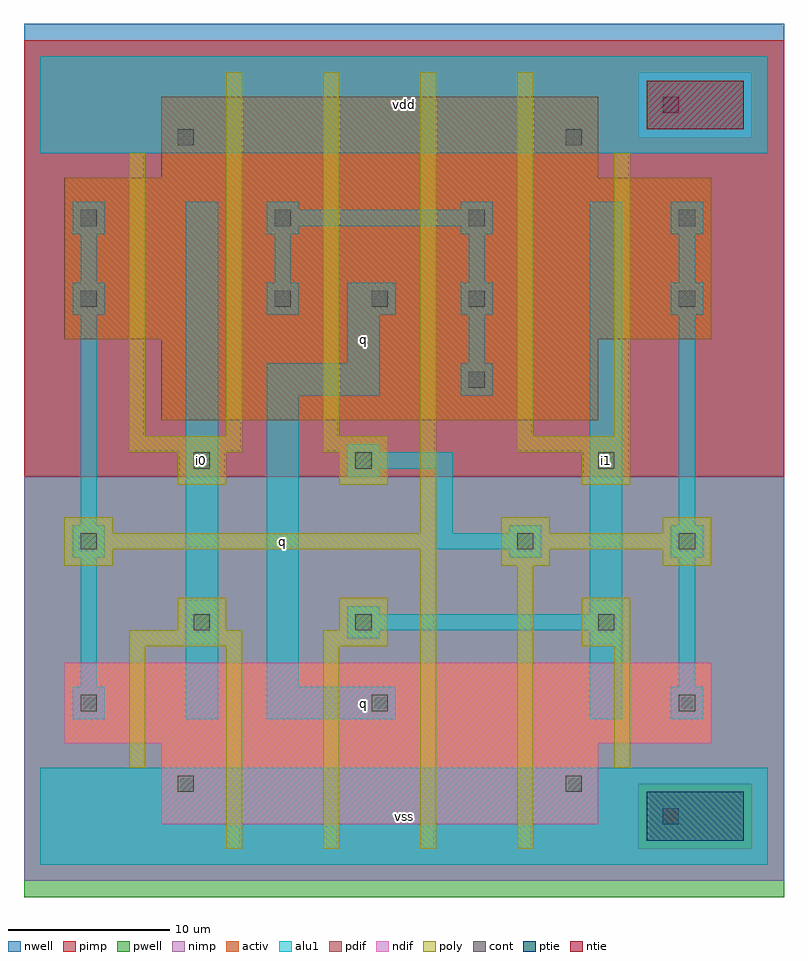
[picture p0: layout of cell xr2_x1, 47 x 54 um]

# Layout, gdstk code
import gdstk
lib = gdstk.Library(unit=1e-6, precision=1e-09)
def R(c, l, rs):  # rectangles x0, y0, x1, y1
    for r in rs: c.add(gdstk.rectangle(r[:2], r[2:], *l))
def A(c, l, x, y, w, h, nx, ny, dx, dy):  # array of equal rectangles
    R(c, l, [(x+i*dx, y+j*dy, x+i*dx+w, y+j*dy+h) for i in range(nx) for j in range(ny)])
ndif = (3, 0)
pdif = (4, 0)
ntie = (5, 0)
ptie = (6, 0)
cont = (25, 0)
pwell = (41, 0)
nwell = (42, 0)
activ = (43, 0)
pimp = (44, 0)
nimp = (45, 0)
poly = (46, 0)
alu1 = (49, 0)

xr2_x1 = lib.new_cell('xr2_x1')
R(xr2_x1, ndif, [(7.5,2.5,34.5,7.5), (1.5,7.5,41.5,12.5)])
R(xr2_x1, pdif, [(7.5,27.5,34.5,32.5), (1.5,32.5,41.5,42.5), (7.5,42.5,34.5,47.5)])
R(xr2_x1, ntie, [(37.5,45.5,43.5,48.5)])
R(xr2_x1, ptie, [(37.5,1.5,43.5,4.5)])
A(xr2_x1, cont, 14.5, 34.5, 1, 1, 3, 1, 6, 0)
A(xr2_x1, cont, 2.5, 39.5, 1, 1, 3, 1, 12, 0)
R(xr2_x1, cont, [(38.5,2.5,39.5,3.5), (8.5,4.5,9.5,5.5), (32.5,4.5,33.5,5.5), (2.5,9.5,3.5,10.5), (20.5,9.5,21.5,10.5), (39.5,9.5,40.5,10.5), (9.5,14.5,10.5,15.5), (19.5,14.5,20.5,15.5), (34.5,14.5,35.5,15.5), (2.5,19.5,3.5,20.5), (29.5,19.5,30.5,20.5), (39.5,19.5,40.5,20.5), (9.5,24.5,10.5,25.5), (19.5,24.5,20.5,25.5), (34.5,24.5,35.5,25.5), (26.5,29.5,27.5,30.5), (2.5,34.5,3.5,35.5), (39.5,34.5,40.5,35.5), (39.5,39.5,40.5,40.5), (8.5,44.5,9.5,45.5), (32.5,44.5,33.5,45.5), (38.5,46.5,39.5,47.5)])
R(xr2_x1, pwell, [(-1,-2,46,24)])
R(xr2_x1, nwell, [(-1,24,46,52)])
R(xr2_x1, activ, [(37.5,1.5,43.5,4.5), (7.5,2.5,34.5,7.5), (1.5,7.5,41.5,12.5), (7.5,27.5,34.5,32.5), (1.5,32.5,41.5,42.5), (7.5,42.5,34.5,47.5), (37.5,45.5,43.5,48.5)])
R(xr2_x1, pimp, [(37,1,44,5), (-1,24,46,45), (-1,45,37,49), (44,45,46,49), (-1,49,46,51)])
R(xr2_x1, nimp, [(-1,-1,46,1), (-1,1,37,5), (44,1,46,5), (-1,5,46,24), (37,45,44,49)])
R(xr2_x1, poly, [(11.5,1,12.5,13.5), (17.5,1,18.5,13.5), (23.5,1,24.5,19.5), (29.5,1,30.5,18.5), (5.5,6,6.5,13.5), (35.5,6,36.5,13.5), (5.5,13.5,12.5,14.5), (17.5,13.5,21.5,14.5), (33.5,13.5,36.5,16.5), (8.5,14.5,11.5,16.5), (18.5,14.5,21.5,16.5), (1.5,18.5,4.5,19.5), (28.5,18.5,31.5,19.5), (38.5,18.5,41.5,19.5), (1.5,19.5,24.5,20.5), (28.5,19.5,41.5,20.5), (1.5,20.5,4.5,21.5), (23.5,20.5,24.5,49), (28.5,20.5,31.5,21.5), (38.5,20.5,41.5,21.5), (8.5,23.5,11.5,25.5), (18.5,23.5,21.5,25.5), (33.5,23.5,36.5,25.5), (5.5,25.5,12.5,26.5), (17.5,25.5,21.5,26.5), (29.5,25.5,36.5,26.5), (5.5,26.5,6.5,44), (11.5,26.5,12.5,49), (17.5,26.5,18.5,49), (29.5,26.5,30.5,49), (35.5,26.5,36.5,44)])
A(xr2_x1, alu1, 2, 34, 2, 2, 3, 1, 12, 0)
A(xr2_x1, alu1, 2.5, 36, 1, 3, 3, 1, 12, 0)
R(xr2_x1, alu1, [(0,0,45,6), (2,9,4,11), (9,9,11,41), (14,9,22,11), (34,9,36,14.5), (39,9,41,11), (2.5,11,3.5,19), (14,11,16,29), (39.5,11,40.5,19), (19,14,21,14.5), (19,14.5,36,15.5), (19,15.5,21,16), (34,15.5,36,41), (2,19,4,21), (29,19,31,19.5), (39,19,41,21), (24.5,19.5,31,20.5), (24.5,20.5,25.5,24.5), (29,20.5,31,21), (2.5,21,3.5,34), (39.5,21,40.5,34), (19,24,21,24.5), (19,24.5,25.5,25.5), (19,25.5,21,26), (14,29,21,31), (26,29,28,31), (19,31,21,34), (26.5,31,27.5,34), (19,34,22,36), (39,34,41,36), (39.5,36,40.5,39), (2,39,4,41), (14,39,16,39.5), (26,39,28,39.5), (39,39,41,41), (14,39.5,28,40.5), (14,40.5,16,41), (26,40.5,28,41), (0,44,45,50)])
xr2_x1.add(gdstk.Label('q', (20,10), layer=49, texttype=0))
xr2_x1.add(gdstk.Label('q', (15,20), layer=49, texttype=0))
xr2_x1.add(gdstk.Label('i0', (10,25), layer=49, texttype=0))
xr2_x1.add(gdstk.Label('q', (20,32.5), layer=49, texttype=0))
xr2_x1.add(gdstk.Label('vss', (22.5,3), layer=49, texttype=0))
xr2_x1.add(gdstk.Label('vdd', (22.5,47), layer=49, texttype=0))
xr2_x1.add(gdstk.Label('i1', (35,25), layer=49, texttype=0))

lib.write_gds('xr2_x1.gds')
